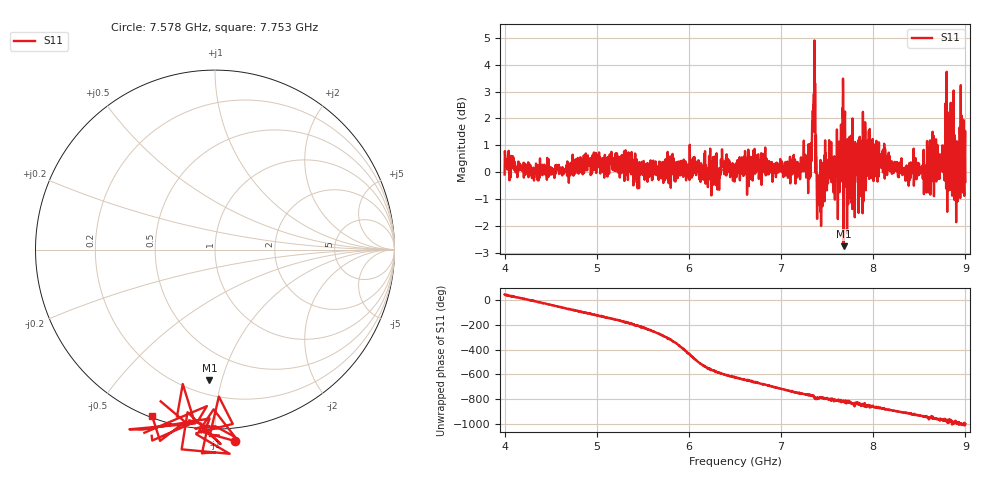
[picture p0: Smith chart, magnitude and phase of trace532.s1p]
! Created with skrf 1.8.0 (http://scikit-rf.org).
# Hz S RI R 50.0
!freq ReS11 ImS11
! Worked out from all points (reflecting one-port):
!   1601 points, 4 GHz to 9 GHz, reference 50 ohm
!   lowest |S11| = -2.7 dB at 7.678 GHz (marker M1), VSWR 6.40, Z = 14.7 - j45.7 ohm
!   phase of S11 starts at 47 deg and turns -1049 deg over the sweep
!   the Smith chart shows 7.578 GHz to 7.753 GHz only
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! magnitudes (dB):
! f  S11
! 4 GHz  -0.1
! 4.625 GHz  -0.1
! 5.25 GHz  -0.2
! 5.875 GHz  0.4
! 6.5 GHz  -0.2
! 7.125 GHz  0.2
! 7.294 GHz  -0.8
! 7.316 GHz  -0.2
! 7.347 GHz  2.0
! 7.362 GHz  4.9
! 7.4 GHz  -0.2
! 7.412 GHz  -0.8
! 7.538 GHz  0.4
! 7.594 GHz  0.0
! 7.638 GHz  0.7
! 7.65 GHz  1.8
! 7.678 GHz  -2.7
! 7.703 GHz  -0.5
! 7.75 GHz  0.9
! 7.788 GHz  -1.3
! 7.938 GHz  0.7
! 7.981 GHz  -0.2
! 8.375 GHz  -0.2
! 8.584 GHz  1.2
! 8.772 GHz  -0.3
! 8.906 GHz  0.3
! 8.956 GHz  0.2
! 9 GHz  -0.4
